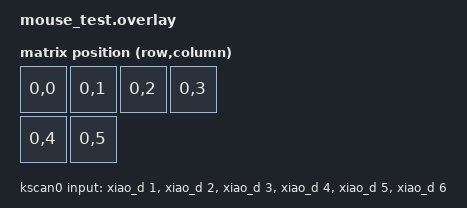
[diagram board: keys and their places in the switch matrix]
#include <dt-bindings/zmk/matrix_transform.h>

/ {
    chosen {
        zmk,kscan = &kscan0;
        zmk,matrix_transform = &default_transform;
    };

    kscan0: kscan {
        compatible = "zmk,kscan-gpio-direct";
        wakeup-source;
        input-gpios
            = <&xiao_d 1 (GPIO_ACTIVE_LOW | GPIO_PULL_UP)>
            , <&xiao_d 2 (GPIO_ACTIVE_LOW | GPIO_PULL_UP)>
            , <&xiao_d 3 (GPIO_ACTIVE_LOW | GPIO_PULL_UP)>
            , <&xiao_d 4 (GPIO_ACTIVE_LOW | GPIO_PULL_UP)>
            , <&xiao_d 5 (GPIO_ACTIVE_LOW | GPIO_PULL_UP)>
            , <&xiao_d 6 (GPIO_ACTIVE_LOW | GPIO_PULL_UP)>
            ;
    };

    default_transform: keymap_transform_0 {
        compatible = "zmk,matrix-transform";
        rows = <2>;
        columns = <4>;
        map = <
            RC(0,0) RC(0,1) RC(0,2) RC(0,3)
            RC(0,4) RC(0,5)
        >;
    };
};

&pinctrl {
    spi0_default: spi0_default {

        group1 {
            psels = <NRF_PSEL(SPIM_SCK, 1, 13)>,
                    <NRF_PSEL(SPIM_MOSI, 1, 14)>,
                    <NRF_PSEL(SPIM_MISO, 1, 14)>;
        };
    };

    spi0_sleep: spi0_sleep {
        group1 {
            psels = <NRF_PSEL(SPIM_SCK, 1, 13)>,
                    <NRF_PSEL(SPIM_MOSI, 1, 14)>,
                    <NRF_PSEL(SPIM_MISO, 1, 14)>;
            low-power-enable;
        };
    };
};

&uart0 {
    status = "disabled";
};

&spi0 {
    status = "okay";
    compatible = "nordic,nrf-spim";
    pinctrl-0 = <&spi0_default>;
    pinctrl-1 = <&spi0_sleep>;
    pinctrl-names = "default", "sleep";
    cs-gpios = <&xiao_d 7 GPIO_ACTIVE_LOW>;

    trackball: trackball@0 {
        status = "okay";
        compatible = "pixart,pmw3610";
        reg = <0>;
        spi-max-frequency = <2000000>;
        irq-gpios = <&xiao_d 10 (GPIO_ACTIVE_LOW | GPIO_PULL_UP)>;
        // duplex = <2048>; // required by 3-wire spi

        /*   optional features   */
        scroll-layers = <1 2>;
        snipe-layers = <5>;
        //automouse-layer = <2>;
    };
};

/ {
  trackball_listener {
    compatible = "zmk,input-listener";
    device = <&trackball>;
  };
}; 

